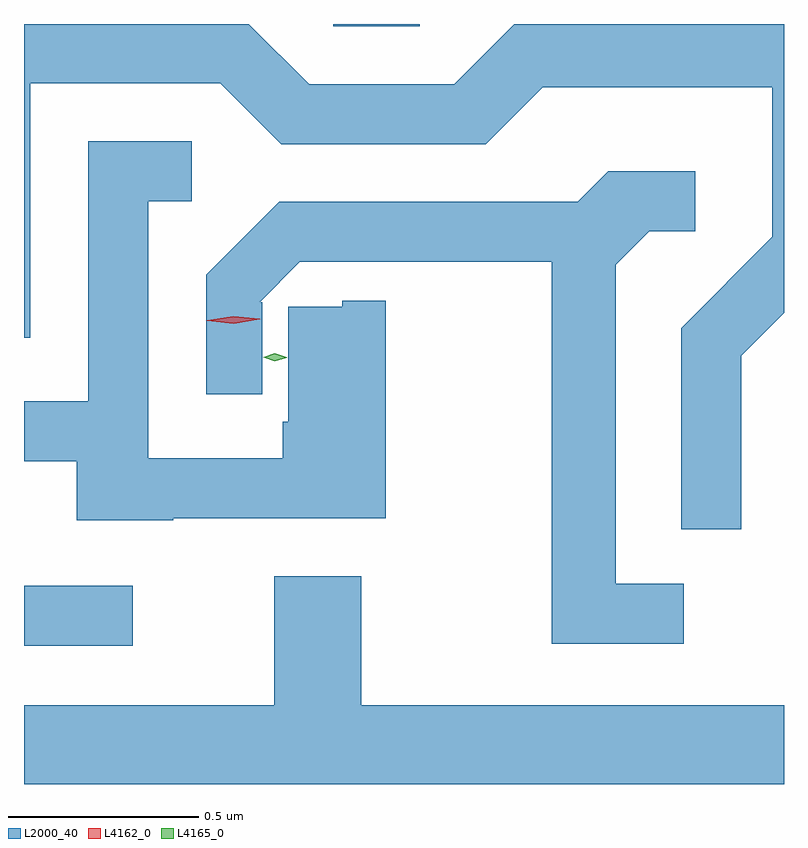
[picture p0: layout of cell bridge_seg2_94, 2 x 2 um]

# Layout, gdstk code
import gdstk
lib = gdstk.Library(unit=1e-6, precision=1e-09)
def R(c, l, rs):  # rectangles x0, y0, x1, y1
    for r in rs: c.add(gdstk.rectangle(r[:2], r[2:], *l))
def P(c, l, *ps):  # polygons
    for p in ps: c.add(gdstk.Polygon(p, *l))
L2000_40 = (2000, 40)
L4162_0 = (4162, 0)
L4165_0 = (4165, 0)

bridge_seg2_94 = lib.new_cell('bridge_seg2_94')
R(bridge_seg2_94, L2000_40, [(1231.032,1006.561,1231.318,1006.719), (1231.846,1008.191,1232.074,1008.197)])
P(bridge_seg2_94, L2000_40, [(1232.919,1007.324),(1233.032,1007.437),(1233.032,1008.197),(1232.322,1008.197),(1232.164,1008.039),(1231.782,1008.039),(1231.624,1008.197),(1231.032,1008.197),(1231.032,1007.371),(1231.049,1007.371),(1231.049,1008.041),(1231.549,1008.041),(1231.709,1007.881),(1232.247,1007.881),(1232.397,1008.031),(1233.001,1008.031),(1233.001,1007.637),(1232.761,1007.397),(1232.761,1006.868),(1232.919,1006.868)],
  [(1231.425,1006.896),(1231.984,1006.896),(1231.984,1007.469),(1231.87,1007.469),(1231.87,1007.453),(1231.727,1007.453),(1231.727,1007.15),(1231.713,1007.15),(1231.713,1007.054),(1231.359,1007.054),(1231.359,1007.731),(1231.473,1007.731),(1231.473,1007.889),(1231.201,1007.889),(1231.201,1007.204),(1231.032,1007.204),(1231.032,1007.046),(1231.171,1007.046),(1231.171,1006.891),(1231.425,1006.891)],
  [(1232.768,1006.724),(1232.589,1006.724),(1232.589,1007.564),(1232.677,1007.651),(1232.798,1007.651),(1232.798,1007.809),(1232.569,1007.809),(1232.489,1007.729),(1231.704,1007.729),(1231.511,1007.537),(1231.511,1007.223),(1231.659,1007.223),(1231.659,1007.465),(1231.652,1007.465),(1231.758,1007.571),(1232.421,1007.571),(1232.421,1006.566),(1232.768,1006.566)],
  [(1233.032,1006.404),(1231.919,1006.404),(1231.919,1006.744),(1231.691,1006.744),(1231.691,1006.404),(1231.032,1006.404),(1231.032,1006.197),(1233.032,1006.197)])
P(bridge_seg2_94, L4162_0, [(1231.584,1007.408),(1231.514,1007.416),(1231.513,1007.416),(1231.514,1007.417),(1231.583,1007.428),(1231.653,1007.421),(1231.654,1007.42),(1231.653,1007.42)])
P(bridge_seg2_94, L4165_0, [(1231.692,1007.31),(1231.661,1007.32),(1231.66,1007.32),(1231.661,1007.32),(1231.692,1007.33),(1231.723,1007.32),(1231.724,1007.32),(1231.723,1007.319)],
  [(1231.692,1007.31),(1231.664,1007.32),(1231.663,1007.32),(1231.664,1007.32),(1231.692,1007.33),(1231.721,1007.32),(1231.722,1007.32),(1231.721,1007.319)])

lib.write_gds('bridge_seg2_94.gds')
